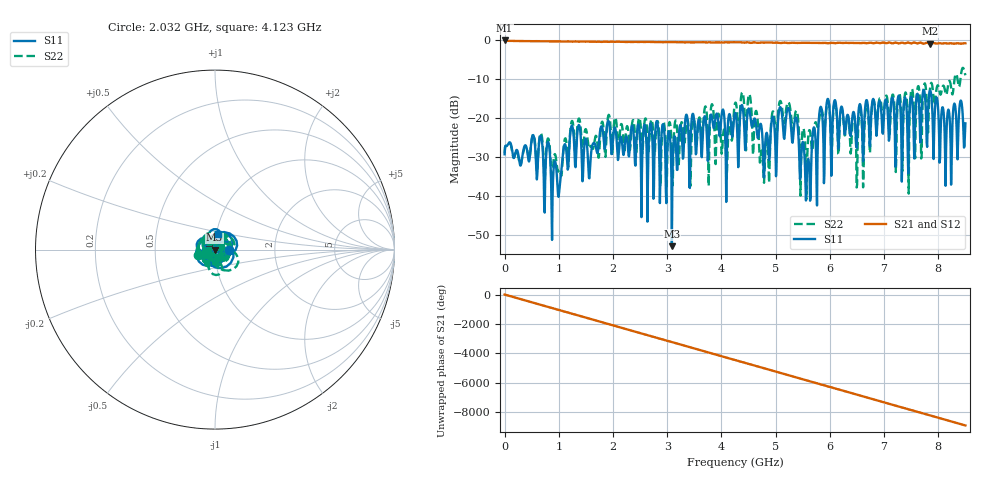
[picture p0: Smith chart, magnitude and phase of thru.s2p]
# Hz S RI R 50
! CMT, S5085, 16077402, 21.3.2/1
! Date: 11/17/2021 5:19:03 PM
! Data: Format (Calibration Info)
! Freq	S11:Re/Im(--)	S21:Re/Im(--)	S12:Re/Im(--)	S22:Re/Im(--)
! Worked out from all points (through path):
!   1001 points, 1 MHz to 8.5 GHz, reference 50 ohm
!   highest |S21| = 0.01 dB at 1 MHz (marker M1); lowest = -0.8 dB at 7.846 GHz (marker M2)
!   group delay of S21, straight-line fit = 2.92 ns
!   lowest |S11| = -52.9 dB at 3.086 GHz (marker M3), VSWR 1.00, Z = 49.8 + j0.00223 ohm
!   |S11| at or under -10 dB: start of sweep to end of sweep
!   |S22| runs from -40.8 to -7.0 dB; largest |S21 - S12| = 0.015
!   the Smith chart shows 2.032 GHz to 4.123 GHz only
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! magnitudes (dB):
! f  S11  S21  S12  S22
! 1 MHz  -29.3  0.0  0.0  -29.0
! 663.9 MHz  -24.5  -0.2  -0.2  -23.8
! 1.004 GHz  -39.4  -0.2  -0.2  -33.4
! 1.233 GHz  -22.0  -0.3  -0.3  -21.0
! 1.42 GHz  -28.8  -0.3  -0.3  -25.8
! 2.84 GHz  -24.2  -0.4  -0.4  -22.0
! 3.086 GHz  -52.9  -0.4  -0.4  -29.5
! 3.35 GHz  -19.1  -0.5  -0.4  -21.8
! 3.826 GHz  -19.6  -0.5  -0.5  -16.4
! 4.089 GHz  -41.5  -0.5  -0.5  -31.4
! 4.25 GHz  -18.7  -0.4  -0.5  -16.2
! 4.522 GHz  -18.3  -0.6  -0.5  -14.0
! 4.752 GHz  -24.0  -0.5  -0.5  -28.7
! 5.083 GHz  -17.1  -0.6  -0.6  -15.5
! 5.381 GHz  -19.9  -0.6  -0.6  -18.0
! 5.602 GHz  -30.4  -0.6  -0.6  -24.7
! 5.67 GHz  -26.8  -0.6  -0.6  -28.3
! 5.959 GHz  -15.0  -0.7  -0.7  -15.7
! 6.494 GHz  -27.6  -0.6  -0.7  -37.8
! 7.089 GHz  -25.8  -0.5  -0.6  -21.6
! 7.846 GHz  -12.9  -0.8  -0.8  -12.7
! 8.5 GHz  -21.3  -0.7  -0.8  -8.9
